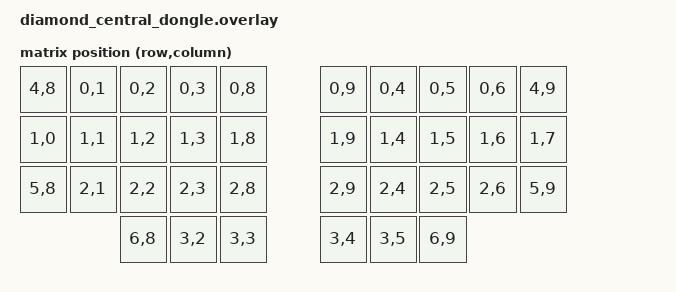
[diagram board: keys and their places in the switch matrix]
/*
 * Copyright (c) 2021 The ZMK Contributors
 *
 * SPDX-License-Identifier: MIT
 */
 #include <dt-bindings/zmk/matrix_transform.h>

/ {
    chosen {
        zmk,kscan = &mock_kscan;
        zmk,matrix_transform = &default_transform;
        zephyr,display = &oled;
    };

    default_transform: keymap_transform_0 {
        compatible = "zmk,matrix-transform";
        columns = <8>;
        rows = <4>;
        map = <
        RC(4,8) RC(0,1) RC(0,2) RC(0,3) RC(0,8)   RC(0,9) RC(0,4) RC(0,5) RC(0,6) RC(4,9)
        RC(1,0) RC(1,1) RC(1,2) RC(1,3) RC(1,8)   RC(1,9) RC(1,4) RC(1,5) RC(1,6) RC(1,7) 
        RC(5,8) RC(2,1) RC(2,2) RC(2,3) RC(2,8)   RC(2,9) RC(2,4) RC(2,5) RC(2,6) RC(5,9)
                        RC(6,8) RC(3,2) RC(3,3)   RC(3,4) RC(3,5) RC(6,9)             
        >;
    };

    mock_kscan: kscan_0 {
        compatible = "zmk,kscan-mock";
        columns = <0>;
        rows = <0>;
        events = <0>;
    };
};

&pro_micro_i2c {
    status = "okay";
    
    oled: ssd1306@3c {
        compatible = "solomon,ssd1306fb";
        reg = <0x3c>;
        width = <128>;
        height = <64>;
        segment-offset = <0>;
        page-offset = <0>;
        display-offset = <0>;
        multiplex-ratio = <63>;
        segment-remap;
        com-invdir;
        inversion-on;
        prechargep = <0x22>;
    };
}; 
